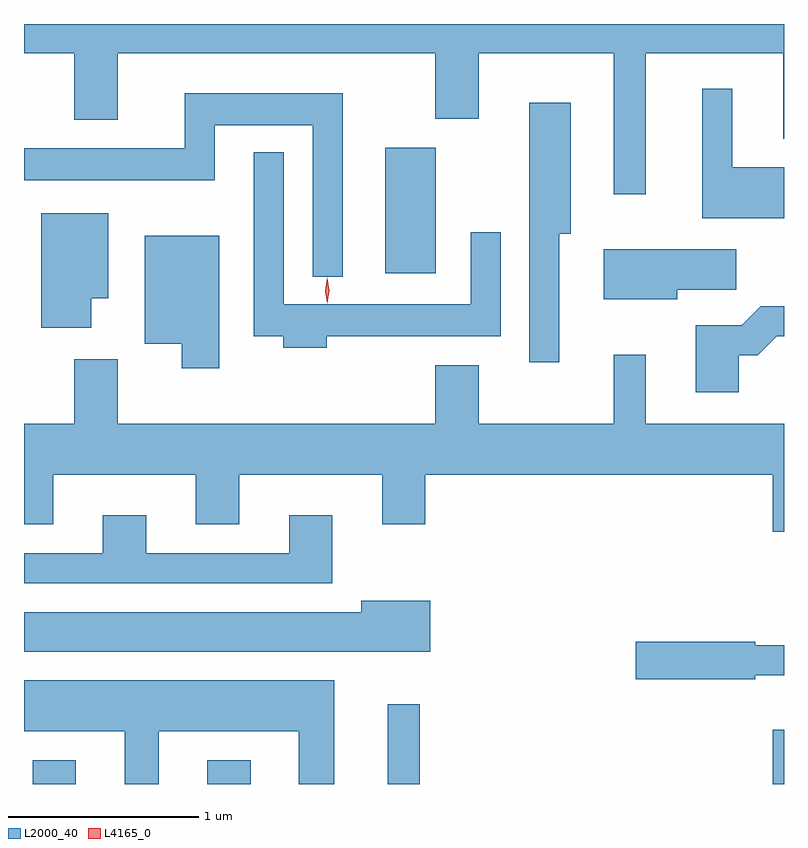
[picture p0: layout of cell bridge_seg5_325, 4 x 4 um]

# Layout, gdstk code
import gdstk
lib = gdstk.Library(unit=1e-6, precision=1e-09)
def R(c, l, rs):  # rectangles x0, y0, x1, y1
    for r in rs: c.add(gdstk.rectangle(r[:2], r[2:], *l))
def P(c, l, *ps):  # polygons
    for p in ps: c.add(gdstk.Polygon(p, *l))
L2000_40 = (2000, 40)
L4165_0 = (4165, 0)

bridge_seg5_325 = lib.new_cell('bridge_seg5_325')
R(bridge_seg5_325, L2000_40, [(750.641,1448.509,750.869,1448.634), (751.561,1448.509,751.789,1448.634), (752.511,1448.509,752.679,1448.928), (754.536,1448.509,754.596,1448.794), (752.496,1451.196,752.764,1451.859)])
P(bridge_seg5_325, L2000_40, [(753.869,1452.356),(754.591,1452.356),(754.591,1451.906),(754.596,1451.906),(754.596,1452.509),(750.596,1452.509),(750.596,1452.356),(750.861,1452.356),(750.861,1452.006),(751.089,1452.006),(751.089,1452.356),(752.761,1452.356),(752.761,1452.011),(752.989,1452.011),(752.989,1452.356),(753.701,1452.356),(753.701,1451.613),(753.869,1451.613)],
  [(754.596,1451.754),(754.324,1451.754),(754.324,1452.168),(754.166,1452.168),(754.166,1451.486),(754.596,1451.486)],
  [(752.274,1452.144),(751.441,1452.144),(751.441,1451.854),(750.596,1451.854),(750.596,1451.686),(751.599,1451.686),(751.599,1451.976),(752.116,1451.976),(752.116,1451.178),(752.274,1451.178)],
  [(753.414,1451.406),(753.474,1451.406),(753.474,1452.094),(753.256,1452.094),(753.256,1450.728),(753.414,1450.728)],
  [(752.189,1450.866),(753.104,1450.866),(753.104,1451.413),(752.946,1451.413),(752.946,1451.034),(751.964,1451.034),(751.964,1451.833),(751.806,1451.833),(751.806,1450.866),(751.961,1450.866),(751.961,1450.806),(752.189,1450.806)],
  [(750.949,1451.066),(751.039,1451.066),(751.039,1451.514),(750.686,1451.514),(750.686,1450.911),(750.949,1450.911)],
  [(751.624,1451.394),(751.231,1451.394),(751.231,1450.826),(751.426,1450.826),(751.426,1450.696),(751.624,1450.696)],
  [(754.034,1451.111),(754.344,1451.111),(754.344,1451.324),(753.646,1451.324),(753.646,1451.061),(754.034,1451.061)],
  [(754.359,1450.766),(754.457,1450.766),(754.557,1450.866),(754.596,1450.866),(754.596,1451.024),(754.474,1451.024),(754.374,1450.924),(754.131,1450.924),(754.131,1450.571),(754.359,1450.571)],
  [(754.596,1450.404),(753.869,1450.404),(753.869,1450.768),(753.701,1450.768),(753.701,1450.404),(752.989,1450.404),(752.989,1450.714),(752.761,1450.714),(752.761,1450.404),(751.089,1450.404),(751.089,1450.744),(750.861,1450.744),(750.861,1450.404),(750.596,1450.404),(750.596,1449.876),(750.749,1449.876),(750.749,1450.136),(751.501,1450.136),(751.501,1449.876),(751.729,1449.876),(751.729,1450.136),(752.481,1450.136),(752.481,1449.876),(752.709,1449.876),(752.709,1450.136),(754.536,1450.136),(754.536,1449.836),(754.596,1449.836)],
  [(752.219,1449.924),(751.991,1449.924),(751.991,1449.724),(751.239,1449.724),(751.239,1449.924),(751.011,1449.924),(751.011,1449.724),(750.596,1449.724),(750.596,1449.566),(752.219,1449.566)],
  [(752.734,1449.474),(752.371,1449.474),(752.371,1449.414),(750.596,1449.414),(750.596,1449.206),(752.734,1449.206)],
  [(754.444,1449.081),(754.596,1449.081),(754.596,1449.239),(754.444,1449.239),(754.444,1449.259),(753.816,1449.259),(753.816,1449.061),(754.444,1449.061)],
  [(751.304,1448.786),(752.041,1448.786),(752.041,1448.509),(752.229,1448.509),(752.229,1449.054),(750.596,1449.054),(750.596,1448.786),(751.126,1448.786),(751.126,1448.509),(751.304,1448.509)])
P(bridge_seg5_325, L4165_0, [(752.192,1451.04),(752.192,1451.04),(752.182,1451.106),(752.192,1451.173),(752.192,1451.173),(752.193,1451.173),(752.202,1451.106),(752.193,1451.04)])

lib.write_gds('bridge_seg5_325.gds')
